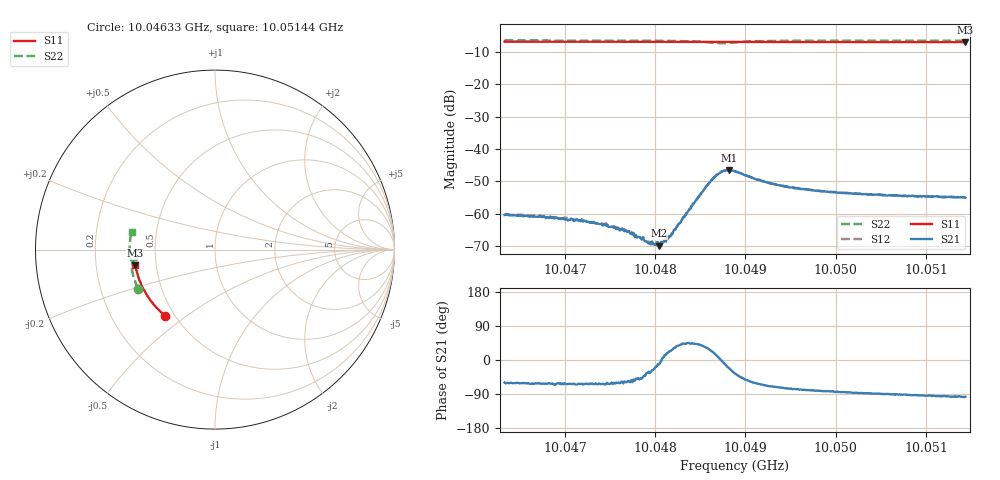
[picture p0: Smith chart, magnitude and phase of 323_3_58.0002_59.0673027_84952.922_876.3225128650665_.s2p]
#  HZ  S  RI  R  50.00
! Rohde & Schwarz Vector Network Analyzer
! Rohde-Schwarz,ZNB20-2Port,1311601062101988,3.16
! Created: UTC 3/21/2024, 1:04:48 AM
! freq[Hz]  re:S11  im:S11  re:S21  im:S21  re:S12  im:S12  re:S22  im:S22
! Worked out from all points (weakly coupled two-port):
!   401 points, 10.04633 GHz to 10.05144 GHz, reference 50 ohm
!   highest |S21| = -46.52 dB at 10.04882 GHz (marker M1); lowest = -69.9 dB at 10.04804 GHz (marker M2)
!   lowest |S11| = -6.9 dB at 10.05144 GHz (marker M3), VSWR 2.65, Z = 19 - j4.13 ohm
!   |S11| at or under -10 dB: nowhere
!   |S22| runs from -7.2 to -6.4 dB; largest |S21 - S12| = 0.00033
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1.0046331e10  -0.2766 -0.3691  0.000481 -0.000819  0.000538 -0.000808  -0.4286 -0.2168
1.0046752e10  -0.2978 -0.3511  0.000415 -0.00078  0.000467 -0.000773  -0.4398 -0.1911
1.0047186e10  -0.3184 -0.3311  0.000352 -0.000677  0.000378 -0.000728  -0.45 -0.1632
1.0047276e10  -0.3224 -0.327  0.000337 -0.000642  0.000373 -0.000646  -0.4519 -0.1573
1.0047429e10  -0.3294 -0.3194  0.000299 -0.000593  0.000352 -0.000596  -0.4548 -0.147
1.0047569e10  -0.3357 -0.3126  0.000294 -0.000496  0.000312 -0.000523  -0.4574 -0.1374
1.0047735e10  -0.3427 -0.3043  0.00029 -0.000389  0.000322 -0.000411  -0.4599 -0.126
1.004785e10  -0.3474 -0.2983  0.00027 -0.000312  0.000317 -0.000234  -0.4616 -0.1175
1.0047914e10  -0.3501 -0.2951  0.000296 -0.000199  0.000304 -0.000206  -0.4623 -0.1127
1.0047978e10  -0.3528 -0.2918  0.000302 -0.000148  0.000345 -0.000141  -0.4628 -0.1079
1.0048042e10  -0.3553 -0.2885  0.000314 -6.28e-05  0.000347 -3.94e-05  -0.4634 -0.1028
1.0048093e10  -0.3574 -0.2858  0.000362 4.41e-05  0.000363 5.47e-05  -0.4634 -0.0987
1.0048182e10  -0.3608 -0.281  0.000423 0.000206  0.000416 0.000267  -0.4639 -0.0913
1.004854e10  -0.3742 -0.2617  0.00191 0.00135  0.00184 0.00149  -0.4514 -0.0594
1.0048654e10  -0.3781 -0.2551  0.00348 0.00109  0.00342 0.00132  -0.4376 -0.0568
1.0048731e10  -0.3807 -0.2511  0.00441 -5.39e-05  0.00447 0.000256  -0.4307 -0.0643
1.004882e10  -0.3838 -0.2462  0.00436 -0.0018  0.00446 -0.00154  -0.4345 -0.0752
1.0048884e10  -0.3858 -0.2428  0.00365 -0.00264  0.00387 -0.0024  -0.4426 -0.0781
1.0049293e10  -0.3993 -0.2193  0.000992 -0.00274  0.00115 -0.00268  -0.4702 -0.0489
1.004974e10  -0.4119 -0.1927  0.00039 -0.00225  0.000542 -0.00226  -0.4753 -0.0144
1.0050595e10  -0.4313 -0.1401  -9.71e-06 -0.00193  0.000105 -0.00194  -0.4739 0.0453
1.0051437e10  -0.4439 -0.0865  -0.000218 -0.00174  -0.00011 -0.00178  -0.4648 0.1006
